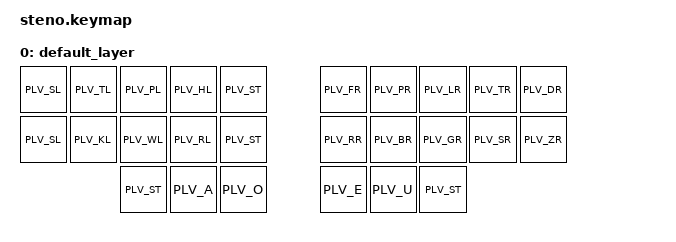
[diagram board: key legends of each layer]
// This file was generated from a template. Edit it to match your keyboard.
// See https://zmk.dev/docs/development/hardware-integration/new-shield for more instructions.

#include <behaviors.dtsi>
#include <dt-bindings/zmk/keys.h>



/ {
    // Define a default keymap here.
    // See https://zmk.dev/docs/development/hardware-integration/new-shield#default-keymap.
    keymap {
        compatible = "zmk,keymap";

        default_layer {
            bindings = <
                &kp PLV_SL &kp PLV_TL &kp PLV_PL &kp PLV_HL &kp PLV_ST      &kp PLV_FR &kp PLV_PR &kp PLV_LR &kp PLV_TR &kp PLV_DR 
                &kp PLV_SL &kp PLV_KL &kp PLV_WL &kp PLV_RL &kp PLV_ST      &kp PLV_RR &kp PLV_BR &kp PLV_GR &kp PLV_SR &kp PLV_ZR 
                                      &kp PLV_ST &kp PLV_A  &kp PLV_O       &kp PLV_E  &kp PLV_U   &kp PLV_ST
            >;
        };
    };
};
